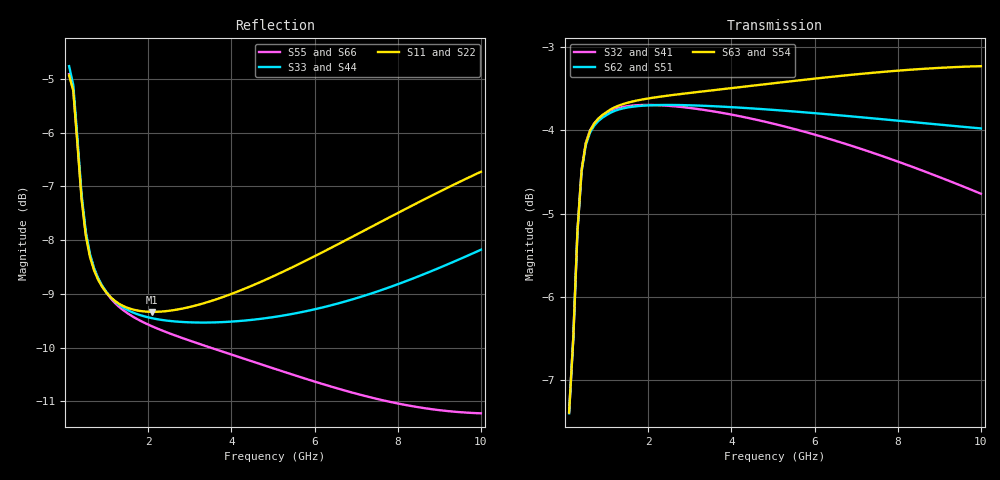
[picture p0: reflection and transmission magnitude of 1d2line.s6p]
! Touchstone file exported from HFSS 2019.1.0
!  File:  C:/Users/33202/Desktop/HFSS script/1d2line_test.aedt
!  Generated:  9:32:37 上午  5月 20, 2026
!  Design:  StackupDesign
!  Project:  1d2line_test
!  Setup:  Setup1
!  Solution:  Sweep1
! Variables:
!  Position_via_L11 = position_L16
!  Position_via_L16 = position_L16
!  Position_via_L4 = position_L8
!  Position_via_L8 = position_L9
!  Position_via_L9 = position_L11
!  R_L10_pad_out = R_micro_pad
!  R_L11_pad_in = R_micro_pad
!  R_L11_pad_out = R_micro_pad
!  R_L12_pad_out = R_micro_pad
!  R_L13_pad_out = R_micro_pad
!  R_L14_pad_out = R_micro_pad
!  R_L15_pad_out = R_micro_pad
!  R_L16_pad_in = R_bottom_pad
!  R_L16_pad_out = R_bottom_pad
!  R_L4_pad_in = R_micro_pad
!  R_L4_pad_out = R_micro_pad
!  R_L5_pad_out = R_micro_pad
!  R_L6_pad_out = R_micro_pad
!  R_L7_pad_out = R_micro_pad
!  R_L8_pad_in = R_micro_c_pad
!  R_L8_pad_out = R_core_pad
!  R_L9_pad_in = R_core_pad
!  R_L9_pad_out = R_micro_c_pad
!  R_anti_L11 = R_micro_anti
!  R_anti_L16 = R_bottom_anti
!  R_anti_L4 = R_micro_anti
!  R_anti_L8 = R_core_anti
!  R_anti_L9 = R_micro_anti
!  R_anti_pcb = 400um
!  R_bottom_anti = 450um
!  R_bottom_pad = 150um
!  R_core_anti = 180um
!  R_core_pad = 100um
!  R_core_via = 50um
!  R_micro_anti = 90um
!  R_micro_c_anti = 100um
!  R_micro_c_pad = 50um
!  R_micro_c_via = 30um
!  R_micro_pad = 45um
!  R_micro_via = 30um
!  R_pad_pcb = 150um
!  R_via_pcb = 50um
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# GHZ S MA R 50.000000
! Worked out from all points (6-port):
!   100 points, 100 MHz to 10 GHz, reference 50 ohm
!   strongest paths, dB at 100 MHz, 2.6 GHz, 5.1 GHz, 7.6 GHz, 10 GHz:
!     S63: -7.4, -3.6, -3.4, -3.3, -3.2
!     S54: -7.2, -3.6, -3.4, -3.3, -3.2
!     S62: -7.4, -3.7, -3.8, -3.9, -4.0
!     S51: -7.2, -3.7, -3.8, -3.9, -4.0
!     S32: -7.4, -3.7, -3.9, -4.3, -4.8
!     S41: -7.2, -3.7, -3.9, -4.3, -4.8
!   lowest |S11| = -9.3 dB at 2.1 GHz (marker M1), VSWR 2.04, Z = 25.6 + j8.9 ohm
!   |S11| at or under -10 dB: nowhere
